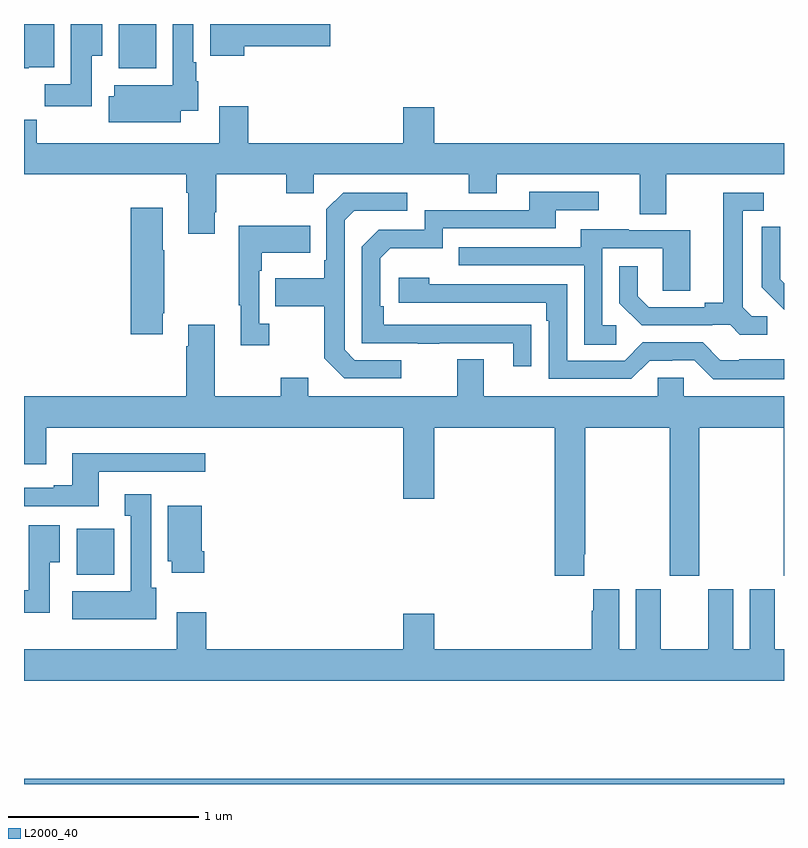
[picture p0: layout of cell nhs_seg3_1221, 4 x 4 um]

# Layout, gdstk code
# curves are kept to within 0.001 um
import gdstk
lib = gdstk.Library(unit=1e-6, precision=1e-09)
def R(c, l, rs):  # rectangles x0, y0, x1, y1
    for r in rs: c.add(gdstk.rectangle(r[:2], r[2:], *l))
def P(c, l, *ps):  # polygons
    for p in ps: c.add(gdstk.Polygon(p, *l))
L2000_40 = (2000, 40)

nhs_seg3_1221 = lib.new_cell('nhs_seg3_1221')
R(nhs_seg3_1221, L2000_40, [(175,672.4,179,672.428), (175.277,673.502,175.474,673.744), (175.499,676.166,175.696,676.4)])
P(nhs_seg3_1221, L2000_40, [(175.357,676.232),(175.411,676.232),(175.411,676.4),(175.247,676.4),(175.247,676.084),(175.108,676.084),(175.108,675.966),(175.357,675.966)],
  [(175.026,676.172),(175.159,676.172),(175.159,676.4),(175,676.4),(175,676.166),(175.026,676.166)],
  [(176.158,676.283),(176.611,676.283),(176.611,676.4),(175.979,676.4),(175.979,676.232),(176.158,676.232)],
  [(175.825,675.944),(175.918,675.944),(175.918,676.098),(175.906,676.098),(175.906,676.198),(175.891,676.198),(175.891,676.4),(175.784,676.4),(175.784,676.078),(175.475,676.078),(175.475,676.019),(175.445,676.019),(175.445,675.884),(175.825,675.884)],
  [(176.18,675.967),(176.027,675.967),(176.027,675.772),(175.067,675.772),(175.067,675.896),(175,675.896),(175,675.608),(175.853,675.608),(175.853,675.512),(175.865,675.512),(175.865,675.297),(176.005,675.297),(176.005,675.409),(176.013,675.409),(176.013,675.608),(176.38,675.608),(176.38,675.509),(176.526,675.509),(176.526,675.608),(177.34,675.608),(177.34,675.509),(177.487,675.509),(177.487,675.608),(178.241,675.608),(178.241,675.4),(178.381,675.4),(178.381,675.608),(179,675.608),(179,675.772),(177.16,675.772),(177.16,675.961),(176.996,675.961),(176.996,675.772),(176.18,675.772)],
  [(177.671,674.816),(176.894,674.817),(176.894,674.914),(176.874,674.914),(176.874,675.168),(176.927,675.221),(177.204,675.221),(177.204,675.324),(177.799,675.324),(177.799,675.42),(178.024,675.42),(178.024,675.516),(177.659,675.516),(177.659,675.42),(177.108,675.42),(177.108,675.318),(176.868,675.318),(176.778,675.228),(176.778,674.721),(177.073,674.721),(177.073,674.716),(177.185,674.716),(177.185,674.721),(177.575,674.721),(177.575,674.598),(177.671,674.598)],
  [(178.912,674.862),(178.83,674.862),(178.783,674.909),(178.783,675.417),(178.894,675.417),(178.894,675.513),(178.679,675.513),(178.679,674.933),(178.583,674.933),(178.583,674.91),(178.288,674.91),(178.231,674.967),(178.231,675.124),(178.134,675.124),(178.134,674.93),(178.25,674.814),(178.622,674.814),(178.622,674.817),(178.716,674.817),(178.768,674.765),(178.912,674.765)],
  [(176.986,674.631),(176.742,674.631),(176.688,674.685),(176.688,675.366),(176.739,675.417),(177.016,675.417),(177.016,675.513),(176.679,675.513),(176.592,675.426),(176.592,675.157),(176.58,675.157),(176.58,675.061),(176.323,675.061),(176.323,674.914),(176.58,674.914),(176.58,674.641),(176.685,674.535),(176.986,674.535)],
  [(175.729,674.878),(175.737,674.878),(175.737,675.209),(175.729,675.209),(175.729,675.433),(175.562,675.433),(175.562,674.766),(175.729,674.766)],
  [(176.29,674.822),(176.238,674.822),(176.238,675.101),(176.251,675.101),(176.251,675.197),(176.507,675.197),(176.507,675.337),(176.13,675.337),(176.13,674.921),(176.141,674.921),(176.141,674.709),(176.29,674.709)],
  [(179,675.035),(178.979,675.056),(178.979,675.16),(178.981,675.16),(178.981,675.332),(178.884,675.332),(178.884,675.014),(178.957,674.941),(178.956,674.94),(179,674.896)],
  [(178.117,674.814),(178.044,674.814),(178.044,675.219),(178.362,675.219),(178.362,674.995),(178.507,674.995),(178.507,675.315),(178.183,675.315),(178.183,675.319),(177.929,675.319),(177.929,675.225),(177.289,675.225),(177.289,675.129),(177.948,675.129),(177.948,674.713),(178.117,674.713)],
  [(179,674.635),(178.765,674.635),(178.765,674.631),(178.665,674.631),(178.572,674.724),(178.257,674.724),(178.161,674.628),(177.858,674.628),(177.858,675.03),(177.134,675.03),(177.134,675.064),(176.973,675.064),(176.973,674.934),(177.749,674.934),(177.749,674.837),(177.762,674.837),(177.762,674.532),(178.197,674.532),(178.293,674.628),(178.412,674.628),(178.412,674.631),(178.527,674.631),(178.627,674.531),(179,674.531)],
  [(177.794,673.497),(177.949,673.497),(177.949,673.609),(177.954,673.609),(177.954,674.276),(178.399,674.276),(178.399,673.497),(178.554,673.497),(178.554,674.276),(178.999,674.276),(178.999,673.497),(179,673.497),(179,674.44),(178.473,674.44),(178.473,674.538),(178.335,674.538),(178.335,674.44),(177.421,674.44),(177.421,674.635),(177.281,674.635),(177.281,674.44),(176.497,674.44),(176.497,674.539),(176.35,674.539),(176.35,674.44),(176.005,674.44),(176.005,674.818),(175.865,674.818),(175.865,674.705),(175.853,674.705),(175.853,674.44),(175,674.44),(175,674.082),(175.117,674.082),(175.117,674.276),(176.996,674.276),(176.996,673.902),(177.16,673.902),(177.16,674.276),(177.794,674.276)],
  [(175.393,674.043),(175.954,674.043),(175.954,674.14),(175.253,674.14),(175.253,673.972),(175.157,673.972),(175.157,673.959),(175,673.959),(175,673.863),(175.393,673.863)],
  [(175.696,673.434),(175.669,673.434),(175.669,673.924),(175.529,673.924),(175.529,673.811),(175.562,673.811),(175.562,673.414),(175.253,673.414),(175.253,673.268),(175.696,673.268)],
  [(175.949,673.624),(175.936,673.624),(175.936,673.864),(175.757,673.864),(175.757,673.572),(175.778,673.572),(175.778,673.512),(175.949,673.512)],
  [(175.135,673.568),(175.189,673.568),(175.189,673.762),(175.025,673.762),(175.025,673.42),(175,673.42),(175,673.302),(175.135,673.302)],
  [(179,673.108),(178.951,673.108),(178.951,673.426),(178.82,673.426),(178.82,673.108),(178.732,673.108),(178.732,673.426),(178.601,673.426),(178.601,673.108),(178.351,673.108),(178.351,673.426),(178.22,673.426),(178.22,673.108),(178.132,673.108),(178.132,673.426),(177.995,673.426),(177.995,673.313),(177.989,673.313),(177.989,673.108),(177.16,673.108),(177.16,673.297),(176.996,673.297),(176.996,673.108),(175.958,673.108),(175.958,673.303),(175.805,673.303),(175.805,673.108),(175,673.108),(175,672.944),(179,672.944)])

lib.write_gds('nhs_seg3_1221.gds')
